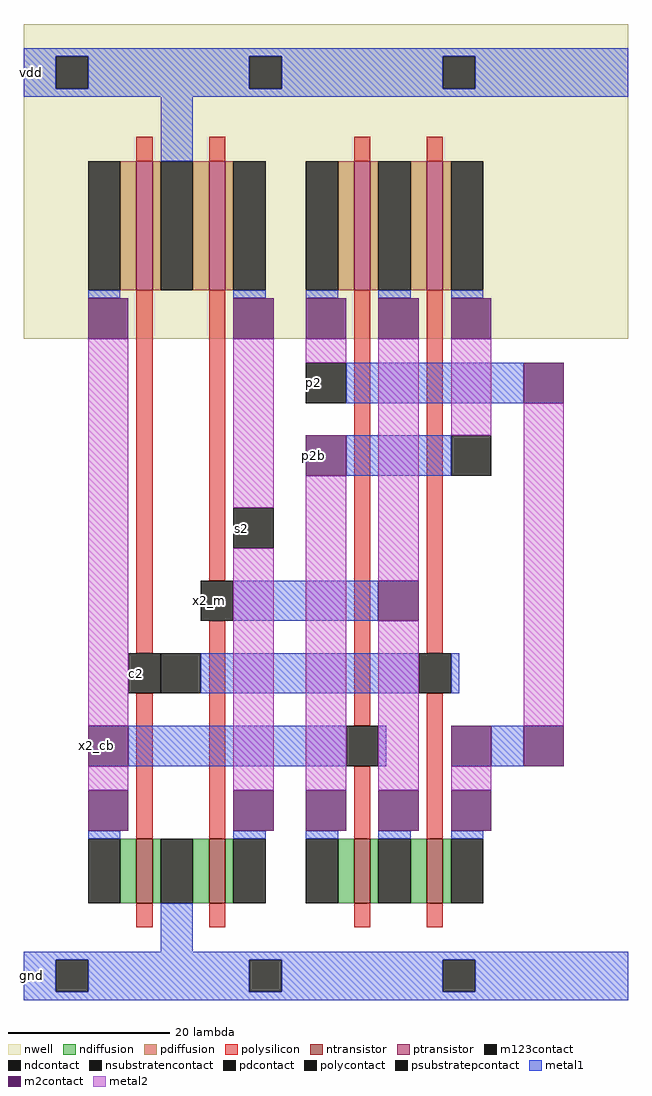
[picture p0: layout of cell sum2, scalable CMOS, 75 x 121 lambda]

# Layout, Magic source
magic
tech scmos
<< nwell >>
rect 0 82 75 121
<< ntransistor >>
rect 14 12 16 20
rect 23 12 25 20
rect 41 12 43 20
rect 50 12 52 20
<< ptransistor >>
rect 14 88 16 104
rect 23 88 25 104
rect 41 88 43 104
rect 50 88 52 104
<< ndiffusion >>
rect 12 12 14 20
rect 16 12 17 20
rect 21 12 23 20
rect 25 12 26 20
rect 39 12 41 20
rect 43 12 44 20
rect 48 12 50 20
rect 52 12 53 20
<< pdiffusion >>
rect 12 88 14 104
rect 16 88 17 104
rect 21 88 23 104
rect 25 88 26 104
rect 39 88 41 104
rect 43 88 44 104
rect 48 88 50 104
rect 52 88 53 104
<< ndcontact >>
rect 8 12 12 20
rect 17 12 21 20
rect 26 12 30 20
rect 35 12 39 20
rect 44 12 48 20
rect 53 12 57 20
<< pdcontact >>
rect 8 88 12 104
rect 17 88 21 104
rect 26 88 30 104
rect 35 88 39 104
rect 44 88 48 104
rect 53 88 57 104
<< psubstratepcontact >>
rect 4 1 8 5
rect 28 1 32 5
rect 52 1 56 5
<< nsubstratencontact >>
rect 4 113 8 117
rect 28 113 32 117
rect 52 113 56 117
<< polysilicon >>
rect 14 104 16 107
rect 23 104 25 107
rect 41 104 43 107
rect 50 104 52 107
rect 14 43 16 88
rect 23 52 25 88
rect 14 20 16 38
rect 23 20 25 47
rect 41 34 43 88
rect 50 43 52 88
rect 41 20 43 29
rect 50 20 52 38
rect 14 9 16 12
rect 23 9 25 12
rect 41 9 43 12
rect 50 9 52 12
<< polycontact >>
rect 22 47 26 52
rect 13 38 17 43
rect 49 38 53 43
rect 40 29 44 34
<< metal1 >>
rect 0 117 75 118
rect 0 113 4 117
rect 8 113 28 117
rect 32 113 52 117
rect 56 113 75 117
rect 0 112 75 113
rect 17 104 21 112
rect 8 87 12 88
rect 26 87 30 88
rect 35 87 39 88
rect 44 87 48 88
rect 53 87 57 88
rect 40 74 62 79
rect 40 65 53 70
rect 26 47 44 52
rect 22 38 49 43
rect 53 38 54 43
rect 13 29 40 34
rect 44 29 45 34
rect 58 29 62 34
rect 8 20 12 21
rect 26 20 30 21
rect 35 20 39 21
rect 44 20 48 21
rect 53 20 57 21
rect 17 6 21 12
rect 0 5 75 6
rect 0 1 4 5
rect 8 1 28 5
rect 32 1 52 5
rect 56 1 75 5
rect 0 0 75 1
<< m2contact >>
rect 8 82 13 87
rect 26 82 31 87
rect 35 82 40 87
rect 44 82 49 87
rect 53 82 58 87
rect 62 74 67 79
rect 35 65 40 70
rect 44 47 49 52
rect 8 29 13 34
rect 53 29 58 34
rect 62 29 67 34
rect 8 21 13 26
rect 26 21 31 26
rect 35 21 40 26
rect 44 21 49 26
rect 53 21 58 26
<< metal2 >>
rect 8 34 13 82
rect 26 61 31 82
rect 35 79 40 82
rect 8 26 13 29
rect 26 26 31 56
rect 35 26 40 65
rect 44 52 49 82
rect 53 70 58 82
rect 44 26 49 47
rect 62 34 67 74
rect 53 26 58 29
<< m123contact >>
rect 35 74 40 79
rect 26 56 31 61
rect 17 38 22 43
rect 53 65 58 70
<< labels >>
rlabel metal1 13 38 15 43 0 c2
port 1 nsew
rlabel metal1 35 74 37 79 0 p2
port 2 nsew
rlabel m2contact 35 65 37 70 0 p2b
port 3 nsew
rlabel metal1 26 56 28 61 0 s2
port 4 nsew
rlabel m2contact 8 29 10 34 0 x2_cb
rlabel metal1 22 47 24 52 0 x2_m
rlabel metal1 0 112 2 118 0 vdd
port 5 nsew
rlabel metal1 0 0 2 6 0 gnd
port 6 nsew
<< end >>
